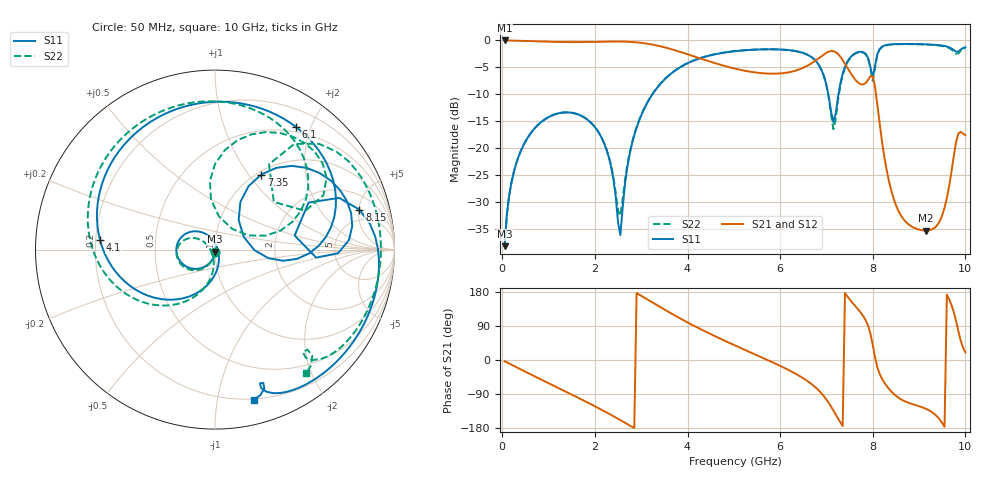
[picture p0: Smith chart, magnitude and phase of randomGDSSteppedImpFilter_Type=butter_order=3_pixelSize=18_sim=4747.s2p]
! freq	dB(S11)	phase(S11)	dB(S12)	phase(S12)
!  dB(S21)	phase(S21)	dB(S22)	phase(S22)
!S-par simulation data
#  GHz  S  DB  R 50
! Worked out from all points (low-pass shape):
!   200 points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, 50 MHz to 10 GHz, reference 50 ohm
!   highest |S21| = -0.01 dB at 50 MHz (marker M1); lowest = -35.3 dB at 9.15 GHz (marker M2)
!   |S21| within 3 dB of the highest: start of sweep to 4.157 GHz; 6.879 GHz to 7.299 GHz (420.1 MHz wide, 5.93 % of centre)
!   lowest |S11| = -38.1 dB at 50 MHz (marker M3), VSWR 1.03, Z = 49.9 - j1.24 ohm
!   |S11| at or under -10 dB: start of sweep to 3.242 GHz; 7.04 GHz to 7.259 GHz (219.4 MHz wide, 3.07 % of centre)
!   |S22| runs from -38.1 to -0.7 dB; largest |S21 - S12| = 0
!   S11 on the Smith chart (normalised r, x): 50 MHz: 1.00, -0.02; 4.1 GHz: 0.22, +0.04; 6.1 GHz: 0.43, +1.78; 7.35 GHz: 1.04, +1.15; 8.15 GHz: 3.44, +5.06; 10 GHz: 0.19, -1.27
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0.05  -38.14 -92.8  -0.01 -3.2  -0.01 -3.2  -38.13 -92.5
0.2  -26.23 -102.8  -0.03 -12.5  -0.03 -12.5  -26.23 -101.8
0.55  -18.01 -125.9  -0.12 -34.0  -0.12 -34.0  -18.00 -123.0
1.75  -14.18 157.2  -0.30 -106.5  -0.30 -106.5  -14.17 169.4
2.25  -20.24 119.4  -0.21 -138.3  -0.21 -138.3  -20.17 146.1
2.55  -36.08 -0.3  -0.20 -158.6  -0.20 -158.6  -32.48 -142.8
2.8  -19.17 -83.7  -0.29 -176.2  -0.29 -176.2  -18.96 -95.1
3.4  -8.20 -134.2  -1.06 140.4  -1.06 140.4  -8.15 -127.9
4.1  -3.84 175.3  -2.84 92.8  -2.84 92.8  -3.82 -171.4
5.05  -1.97 116.8  -5.28 37.0  -5.28 37.0  -1.95 136.9
6.1  -1.74 56.5  -6.03 -21.5  -6.03 -21.5  -1.73 82.2
6.7  -3.25 15.2  -4.12 -65.6  -4.12 -65.6  -3.24 42.3
7.15  -15.13 24.1  -1.99 -133.2  -1.99 -133.2  -16.47 50.1
7.35  -6.18 58.4  -3.63 -174.3  -3.63 -174.3  -6.41 89.9
7.7  -2.13 20.3  -7.93 131.1  -7.93 131.1  -2.20 50.0
7.95  -4.96 -4.5  -6.61 69.3  -6.61 69.3  -5.23 23.2
8.05  -4.68 26.7  -8.64 6.2  -8.64 6.2  -5.00 57.7
8.15  -1.57 15.5  -15.60 -37.0  -15.60 -37.0  -1.66 45.5
8.35  -0.77 -3.6  -26.11 -76.2  -26.11 -76.2  -0.81 25.2
9.15  -0.73 -44.9  -35.26 -128.8  -35.26 -128.8  -0.76 -19.8
9.5  -0.96 -60.7  -32.43 -166.4  -32.43 -166.4  -1.03 -37.7
10  -1.26 -75.5  -17.58 20.2  -17.58 20.2  -1.35 -53.5
